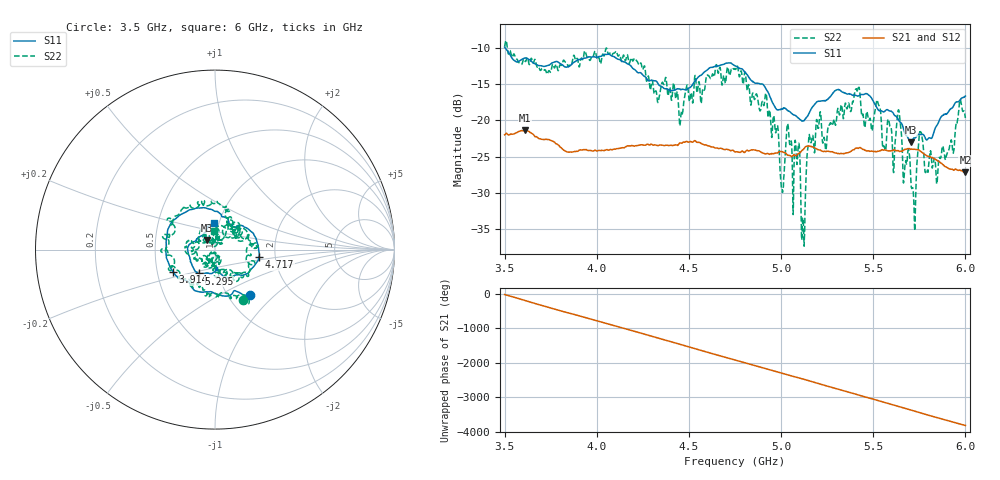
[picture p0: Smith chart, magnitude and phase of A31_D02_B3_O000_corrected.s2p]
! Created with skrf 1.9.0 (http://scikit-rf.org).
# Hz S RI R 50.0
!freq ReS11 ImS11 ReS21 ImS21 ReS12 ImS12 ReS22 ImS22
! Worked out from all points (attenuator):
!   1601 points, 3.5 GHz to 6 GHz, reference 50 ohm
!   highest |S21| = -21.38 dB at 3.611 GHz (marker M1); lowest = -27.1 dB at 6 GHz (marker M2)
!   lowest |S11| = -23.0 dB at 5.703 GHz (marker M3), VSWR 1.15, Z = 45.3 + j4.84 ohm
!   |S11| at or under -10 dB: 3.503 GHz to end of sweep
!   |S22| runs from -37.3 to -9.0 dB; largest |S21 - S12| = 0.00091
!   S11 on the Smith chart (normalised r, x): 3.5 GHz: 1.25, -0.71; 3.914 GHz: 0.61, -0.16; 4.717 GHz: 1.64, -0.15; 5.295 GHz: 0.81, -0.22; 6 GHz: 0.95, +0.28
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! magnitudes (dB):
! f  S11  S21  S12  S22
! 3.5 GHz  -9.9  -22.0  -22.0  -9.8
! 3.611 GHz  -11.4  -21.4  -21.4  -11.8
! 3.914 GHz  -11.6  -24.1  -24.0  -11.5
! 3.917 GHz  -11.6  -24.1  -24.1  -11.4
! 4.334 GHz  -15.0  -23.5  -23.4  -17.3
! 4.717 GHz  -12.1  -24.0  -24.1  -13.5
! 4.75 GHz  -12.5  -24.4  -24.3  -13.0
! 4.925 GHz  -15.9  -24.5  -24.5  -18.0
! 5.005 GHz  -18.4  -24.3  -24.3  -29.4
! 5.036 GHz  -18.6  -24.8  -24.7  -20.4
! 5.088 GHz  -19.5  -24.7  -24.7  -25.7
! 5.119 GHz  -20.1  -24.0  -24.0  -33.5
! 5.167 GHz  -18.3  -23.6  -23.6  -22.5
! 5.295 GHz  -15.9  -24.5  -24.4  -20.7
! 5.414 GHz  -16.6  -23.8  -23.8  -15.9
! 5.584 GHz  -18.7  -24.2  -24.2  -19.9
! 5.641 GHz  -20.1  -24.3  -24.2  -18.9
! 5.703 GHz  -23.0  -24.0  -23.9  -27.7
! 5.719 GHz  -22.5  -24.0  -23.9  -30.5
! 5.756 GHz  -21.9  -24.2  -24.2  -21.6
! 5.848 GHz  -20.6  -25.6  -25.5  -27.9
! 6 GHz  -16.6  -27.1  -27.1  -19.7
